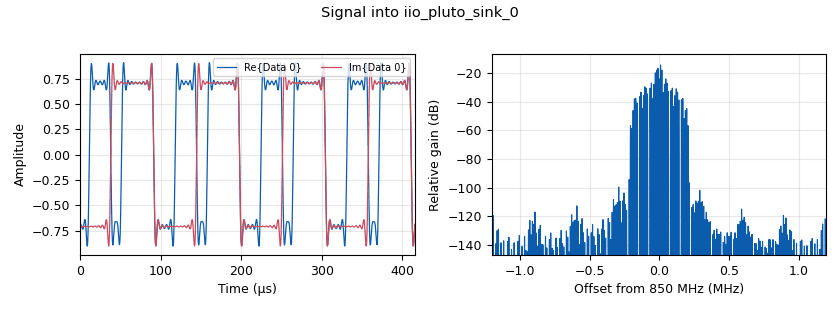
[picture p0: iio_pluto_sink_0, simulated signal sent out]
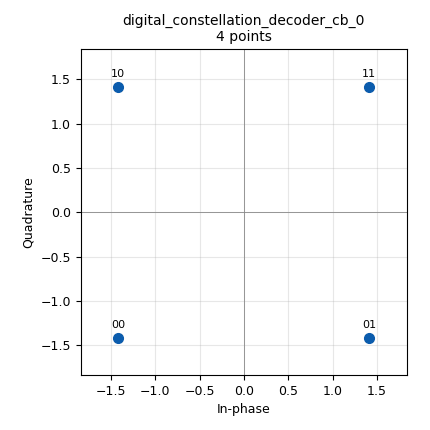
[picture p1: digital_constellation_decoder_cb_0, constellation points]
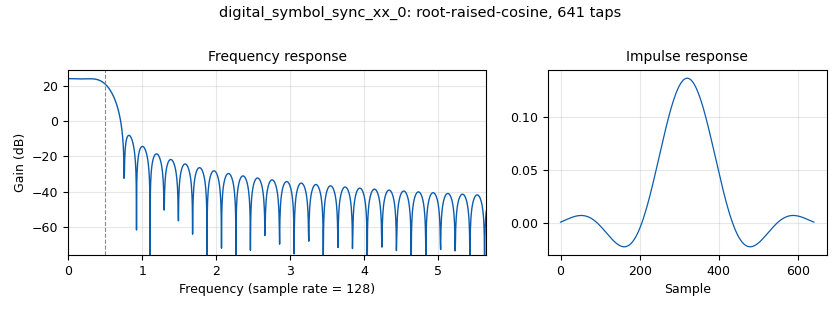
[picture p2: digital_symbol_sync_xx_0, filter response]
options:
  parameters:
    author: emmanuelkwakyenyantakyi
    generate_options: qt_gui
    id: qpsk_mod_demod_real_signal_5_3
    output_language: python
    title: Modulating and demodulation a real signal
  states: {}

blocks:
- name: computed_cfo
  id: variable_function_probe
  parameters:
    block_id: freq_offset
    function_name: level
    poll_rate: '10'
    value: '0'
  states: {}
- name: my_const_qpsk
  id: variable_constellation
  parameters:
    precision: '8'
    type: qpsk
  states: {}
- name: nfilts
  id: variable
  parameters:
    value: '16'
  states: {}
- name: rrc_taps
  id: variable
  parameters:
    value: firdes.root_raised_cosine(nfilts, nfilts * sps, 1.0, 0.4, int(5 * sps * nfilts))
  states: {}
- name: samp_rate
  id: variable
  parameters:
    value: 2.4e6
  states: {}
- name: sps
  id: variable
  parameters:
    value: '8'
  states: {}
- name: analog_agc_xx_0
  id: analog_agc_xx
  parameters:
    gain: '1.0'
    max_gain: '65536'
    rate: '1e-4'
    reference: '1.0'
    type: complex
  states: {}
- name: blocks_argmax_xx_0
  id: blocks_argmax_xx
  parameters:
    num_inputs: '1'
    type: float
    vlen: '512'
  states: {}
- name: blocks_char_to_float_0
  id: blocks_char_to_float
  parameters:
    scale: '1'
  states: {}
- name: blocks_complex_to_mag_squared_0
  id: blocks_complex_to_mag_squared
  parameters:
    vlen: '512'
  states: {}
- name: blocks_multiply_const_vxx_0
  id: blocks_multiply_const_vxx
  parameters:
    const: '0.5'
    type: complex
  states: {}
- name: blocks_multiply_xx_0
  id: blocks_multiply_xx
  parameters:
    type: complex
  states: {}
- name: blocks_multiply_xx_0_0
  id: blocks_multiply_xx
  parameters:
    type: complex
  states: {}
- name: blocks_nlog10_ff_0
  id: blocks_nlog10_ff
  parameters:
    k: '0'
    n: '10'
    vlen: '512'
  states: {}
- name: blocks_null_sink_0
  id: blocks_null_sink
  parameters:
    type: short
  states: {}
- name: blocks_short_to_float_0
  id: blocks_short_to_float
  parameters:
    scale: '1'
  states: {}
- name: blocks_stream_to_vector_0
  id: blocks_stream_to_vector
  parameters:
    num_items: '512'
    type: complex
  states: {}
- name: blocks_unpack_k_bits_bb_0
  id: blocks_unpack_k_bits_bb
  parameters:
    k: '2'
  states: {}
- name: blocks_vector_source_x_0
  id: blocks_vector_source_x
  parameters:
    repeat: 'True'
    type: byte
    vector: (1, 0, 1, 1, 0, 0, 1, 0)
  states: {}
- name: digital_constellation_decoder_cb_0
  id: digital_constellation_decoder_cb
  parameters:
    constellation: my_const_qpsk
  states: {}
- name: digital_constellation_modulator_0
  id: digital_constellation_modulator
  parameters:
    constellation: my_const_qpsk
    differential: 'True'
    excess_bw: '0.4'
    samples_per_symbol: sps
  states: {}
- name: digital_costas_loop_cc_0
  id: digital_costas_loop_cc
  parameters:
    order: '4'
    w: '0.0125664'
  states: {}
- name: digital_diff_decoder_bb_0
  id: digital_diff_decoder_bb
  parameters:
    coding: digital.DIFF_DIFFERENTIAL
    modulus: '4'
  states: {}
- name: digital_symbol_sync_xx_0
  id: digital_symbol_sync_xx
  parameters:
    constellation: digital.constellation_qpsk().base()
    damping: '0.707107'
    loop_bw: 0.00314159 * 2
    max_dev: '1.5'
    nfilters: '16'
    osps: '1'
    pfb_mf_taps: rrc_taps
    resamp_type: digital.IR_PFB_MF
    sps: sps
    ted_gain: '3'
    ted_type: digital.TED_ZERO_CROSSING
    type: cc
  states: {}
- name: epy_block_0
  id: epy_block
  parameters:
    Fft_Len: '512'
    Previous_Freq: '0.0'
    Samp_Rate: '300000'
    _source_code: |
      import numpy as np
      from gnuradio import gr

      class blk(gr.sync_block):
          def __init__(self, Fft_Len=512, Samp_Rate=300000, Previous_Freq=0.0):
              gr.sync_block.__init__(
                  self,
                  name='Carrier Offset Calculation',
                  in_sig=[np.float32],  # Receives the float index from 'Short to Float'
                  out_sig=[np.int32]  # Outputs the calculated frequency offset in Hz
              )
              self.Fft_Len = Fft_Len
              self.Samp_Rate = Samp_Rate
              self.Previous_Freq = Previous_Freq

          def work(self, input_items, output_items):
              in0 = input_items[0]
              out = output_items[0]
              
              for i in range(len(in0)):
                  bin_index = in0[i]
                  
                  # Shift the FFT bins so index 0 centers around 0 Hz (handling negative frequencies)
                  if bin_index >= self.Fft_Len / 2:
                      bin_index -= self.Fft_Len
                  
                  # 1. Convert bin index to the multiplied frequency domain
                  freq_in_multiplied_domain = (bin_index * self.Samp_Rate) / self.Fft_Len
                  
                  # 2. Divide by 4 because the prior x4 Multiply blocks magnified the error 4x
                  true_hardware_offset = freq_in_multiplied_domain / 4.0
                  
                  out[i] = ınt(true_hardware_offset)
                  
              return len(out)
  states: {}
- name: fft_vxx_0
  id: fft_vxx
  parameters:
    fft_size: '512'
    forward: 'True'
    shift: 'False'
    type: complex
    window: window.blackmanharris(512)
  states: {}
- name: freq_offset
  id: blocks_probe_signal_x
  parameters:
    type: int
  states: {}
- name: iio_pluto_sink_0
  id: iio_pluto_sink
  parameters:
    attenuation1: '10'
    bandwidth: '20000000'
    buffer_size: '32768'
    cyclic: 'True'
    filter_source: '''Auto'''
    frequency: int(850e6)
    samplerate: int(samp_rate)
    type: fc32
    uri: usb:0.2.5
  states: {}
- name: iio_pluto_source_0
  id: iio_pluto_source
  parameters:
    bandwidth: '20000000'
    bbdc: 'True'
    buffer_size: '32768'
    filter_source: '''Auto'''
    frequency: int(850e6) - computed_cfo
    gain1: '''slow_attack'''
    manual_gain1: '30'
    quadrature: 'True'
    rfdc: 'True'
    samplerate: int(samp_rate)
    type: fc32
    uri: usb:0.2.5
  states: {}
- name: low_pass_filter_0
  id: low_pass_filter
  parameters:
    cutoff_freq: 210e3
    decim: '1'
    gain: '1'
    samp_rate: samp_rate
    type: fir_filter_ccf
    width: 20e3
    win: window.WIN_HAMMING
  states: {state: bypassed}
- name: qtgui_const_sink_x_0
  id: qtgui_const_sink_x
  parameters:
    autoscale: 'True'
    name: '"Constellation Diagram"'
    size: '1024'
    type: complex
  states: {}
- name: qtgui_time_sink_x_0
  id: qtgui_time_sink_x
  parameters:
    autoscale: 'True'
    name: '"Demodulated signal"'
    size: int(1024/8)
    srate: samp_rate/4
    tr_level: '0.5'
    tr_mode: qtgui.TRIG_MODE_NORM
    type: float
    ymax: '1.2'
    ymin: '-0.2'
  states: {}
- name: rational_resampler_xxx_0
  id: rational_resampler_xxx
  parameters:
    decim: '8'
    interp: '1'
    type: ccc
  states: {}
- name: virtual_sink_0
  id: virtual_sink
  parameters:
    stream_id: cfo_calc
  states: {}
- name: virtual_sink_1
  id: virtual_sink
  parameters:
    stream_id: to_process
  states: {}
- name: virtual_sink_2
  id: virtual_sink
  parameters:
    stream_id: to_demod
  states: {}
- name: virtual_source_0
  id: virtual_source
  parameters:
    stream_id: cfo_calc
  states: {}
- name: virtual_source_1
  id: virtual_source
  parameters:
    stream_id: to_process
  states: {}
- name: virtual_source_2
  id: virtual_source
  parameters:
    stream_id: to_demod
  states: {}

connections:
- [analog_agc_xx_0, '0', digital_symbol_sync_xx_0, '0']
- [blocks_argmax_xx_0, '0', blocks_short_to_float_0, '0']
- [blocks_argmax_xx_0, '1', blocks_null_sink_0, '0']
- [blocks_char_to_float_0, '0', qtgui_time_sink_x_0, '0']
- [blocks_complex_to_mag_squared_0, '0', blocks_nlog10_ff_0, '0']
- [blocks_multiply_const_vxx_0, '0', iio_pluto_sink_0, '0']
- [blocks_multiply_xx_0, '0', blocks_multiply_xx_0_0, '0']
- [blocks_multiply_xx_0, '0', blocks_multiply_xx_0_0, '1']
- [blocks_multiply_xx_0_0, '0', rational_resampler_xxx_0, '0']
- [blocks_nlog10_ff_0, '0', blocks_argmax_xx_0, '0']
- [blocks_short_to_float_0, '0', epy_block_0, '0']
- [blocks_stream_to_vector_0, '0', fft_vxx_0, '0']
- [blocks_unpack_k_bits_bb_0, '0', blocks_char_to_float_0, '0']
- [blocks_vector_source_x_0, '0', digital_constellation_modulator_0, '0']
- [digital_constellation_decoder_cb_0, '0', digital_diff_decoder_bb_0, '0']
- [digital_constellation_modulator_0, '0', blocks_multiply_const_vxx_0, '0']
- [digital_costas_loop_cc_0, '0', qtgui_const_sink_x_0, '0']
- [digital_costas_loop_cc_0, '0', virtual_sink_2, '0']
- [digital_diff_decoder_bb_0, '0', blocks_unpack_k_bits_bb_0, '0']
- [digital_symbol_sync_xx_0, '0', digital_costas_loop_cc_0, '0']
- [epy_block_0, '0', freq_offset, '0']
- [fft_vxx_0, '0', virtual_sink_0, '0']
- [iio_pluto_source_0, '0', low_pass_filter_0, '0']
- [low_pass_filter_0, '0', blocks_multiply_xx_0, '0']
- [low_pass_filter_0, '0', blocks_multiply_xx_0, '1']
- [low_pass_filter_0, '0', virtual_sink_1, '0']
- [rational_resampler_xxx_0, '0', blocks_stream_to_vector_0, '0']
- [virtual_source_0, '0', blocks_complex_to_mag_squared_0, '0']
- [virtual_source_1, '0', analog_agc_xx_0, '0']
- [virtual_source_2, '0', digital_constellation_decoder_cb_0, '0']

metadata:
  file_format: 1
  grc_version: 3.10.12.0
